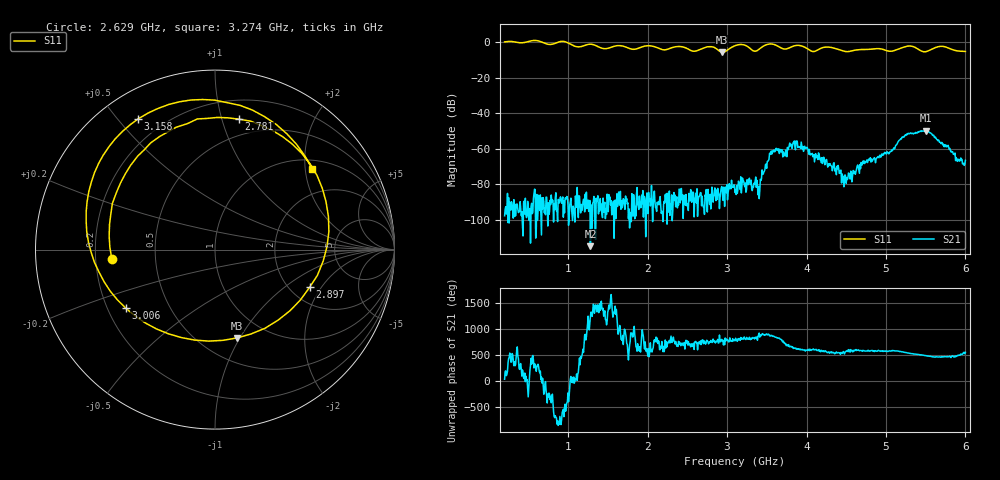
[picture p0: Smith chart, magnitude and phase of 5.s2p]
! NanoVNA-App by OneOfEleven et al v1.1.209 (+OD15)
! Date: 2024-07-30 15:20:46
! Start: 200MHz Stop: 6GHz Points: 801
! S-Parameter data: F S11 S21 S12 S22
# Hz S RI R 50
!  Frequency  S11_Real  S11_Imag  S21_Real  S21_Imag  S12_Real  S12_Imag  S22_Real  S22_Imag
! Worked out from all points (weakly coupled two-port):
!   801 points, 200 MHz to 6 GHz, reference 50 ohm
!   highest |S21| = -49.96 dB at 5.507 GHz (marker M1); lowest = -114.9 dB at 1.28 GHz (marker M2)
!   lowest |S11| = -5.9 dB at 2.941 GHz (marker M3), VSWR 3.06, Z = 36.7 - j48.6 ohm
!   |S11| at or under -10 dB: nowhere
!   S12 and S22 are empty: the file has one direction only
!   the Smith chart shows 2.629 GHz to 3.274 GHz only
!   S11 on the Smith chart (normalised r, x): 2.629 GHz: 0.27, -0.04; 2.781 GHz: 0.36, +1.14; 2.897 GHz: 2.56, -1.56; 3.006 GHz: 0.27, -0.28; 3.158 GHz: 0.11, +0.57; 3.274 GHz: 1.23, +2.18
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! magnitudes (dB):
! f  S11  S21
! 200 MHz  0.0  -97.8
! 1.171 GHz  -2.5  -94.8
! 1.28 GHz  -1.2  -114.9
! 2.136 GHz  -3.5  -90.0
! 2.629 GHz  -4.8  -98.1
! 2.781 GHz  -2.6  -91.4
! 2.897 GHz  -4.9  -85.6
! 2.941 GHz  -5.9  -83.9
! 3.006 GHz  -4.5  -88.8
! 3.1 GHz  -2.1  -84.7
! 3.158 GHz  -1.5  -79.8
! 3.274 GHz  -3.1  -77.5
! 3.405 GHz  -4.0  -88.1
! 3.6 GHz  -1.5  -61.8
! 3.724 GHz  -4.0  -63.5
! 3.854 GHz  -2.1  -58.6
! 4.072 GHz  -5.3  -62.7
! 4.492 GHz  -5.4  -75.5
! 5.036 GHz  -5.2  -63.0
! 5.268 GHz  -2.4  -52.1
! 5.507 GHz  -5.4  -50.0
! 6 GHz  -5.3  -66.7
